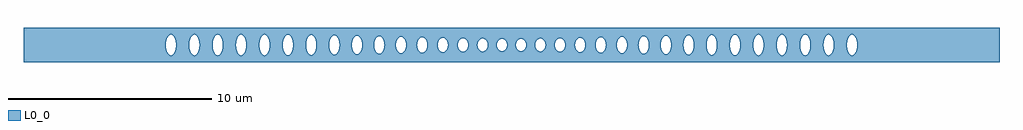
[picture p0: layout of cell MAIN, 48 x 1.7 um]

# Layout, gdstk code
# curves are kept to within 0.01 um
import gdstk
lib = gdstk.Library(unit=1e-6, precision=1e-09)
def P(c, l, *ps):  # polygons
    for p in ps: c.add(gdstk.Polygon(p, *l))
L0_0 = (0, 0)

main = lib.new_cell('MAIN')
P(main, L0_0, [(-16.836,-0.49),(-16.906,-0.413),(-16.96,-0.296),(-16.96,-0.85),(-16.836,-0.85)],
  [(-16.83,0.494),(-16.749,0.521),(-16.67,0.496),(-16.607,0.435),(-16.551,0.332),(-16.551,0.85),(-16.836,0.85)],
  [(-16.551,-0.332),(-16.607,-0.435),(-16.686,-0.505),(-16.765,-0.52),(-16.836,-0.49),(-16.836,-0.85),(-16.551,-0.85)],
  [(24,0.85),(16.96,0.85),(16.96,0.296),(16.988,0.195),(17.006,0.032),(16.998,-0.134),(16.96,-0.296),(16.96,-0.85),(24,-0.85)],
  [(-15.818,0.269),(-15.77,0.388),(-15.709,0.47),(-15.63,0.517),(-15.551,0.512),(-15.551,0.85),(-15.82,0.85)],
  [(-15.551,-0.512),(-15.63,-0.517),(-15.709,-0.47),(-15.77,-0.388),(-15.82,-0.264),(-15.82,-0.85),(-15.551,-0.85)],
  [(-15.344,0.85),(-15.551,0.85),(-15.551,0.512),(-15.481,0.464),(-15.419,0.375),(-15.371,0.247),(-15.344,0.083)],
  [(-15.344,-0.083),(-15.371,-0.247),(-15.419,-0.375),(-15.481,-0.464),(-15.551,-0.512),(-15.551,-0.85),(-15.344,-0.85)],
  [(-15.855,0.006),(-15.82,0.264),(-15.82,0.85),(-16.551,0.85),(-16.551,0.332),(-16.511,0.201),(-16.491,0)],
  [(-14.567,0.461),(-14.495,0.512),(-14.415,0.517),(-14.336,0.47),(-14.278,0.392),(-14.278,0.85),(-14.572,0.85)],
  [(-14.278,-0.392),(-14.336,-0.47),(-14.415,-0.517),(-14.495,-0.512),(-14.572,-0.455),(-14.572,-0.85),(-14.278,-0.85)],
  [(-14.705,0.006),(-14.666,0.275),(-14.624,0.379),(-14.572,0.455),(-14.572,0.85),(-15.344,0.85),(-15.341,0)],
  [(-13.535,0.195),(-13.497,0.327),(-13.438,0.435),(-13.369,0.5),(-13.29,0.52),(-13.29,0.85),(-13.536,0.85)],
  [(-13.29,-0.52),(-13.369,-0.5),(-13.438,-0.435),(-13.499,-0.322),(-13.536,-0.189),(-13.536,-0.85),(-13.29,-0.85)],
  [(-13.052,0.85),(-13.29,0.85),(-13.29,0.52),(-13.209,0.49),(-13.142,0.417),(-13.09,0.312),(-13.052,0.165)],
  [(-13.052,-0.165),(-13.09,-0.312),(-13.142,-0.417),(-13.209,-0.49),(-13.29,-0.52),(-13.29,-0.85),(-13.052,-0.85)],
  [(-13.554,0.006),(-13.536,0.189),(-13.536,0.85),(-14.278,0.85),(-14.278,0.392),(-14.216,0.23),(-14.19,0)],
  [(-12.303,0.413),(-12.233,0.49),(-12.162,0.52),(-12.073,0.5),(-12.01,0.442),(-12.01,0.85),(-12.305,0.85)],
  [(-12.01,-0.442),(-12.073,-0.5),(-12.162,-0.52),(-12.233,-0.49),(-12.305,-0.409),(-12.305,-0.85),(-12.01,-0.85)],
  [(-12.403,0.006),(-12.377,0.23),(-12.305,0.409),(-12.305,0.85),(-13.052,0.85),(-13.052,0.165),(-13.039,0)],
  [(-11.246,0.114),(-11.21,0.285),(-11.159,0.399),(-11.102,0.47),(-11.028,0.512),(-11.028,0.85),(-11.247,0.85)],
  [(-11.028,-0.512),(-11.102,-0.47),(-11.171,-0.377),(-11.22,-0.252),(-11.247,-0.108),(-11.247,-0.85),(-11.028,-0.85)],
  [(-11.022,0.514),(-10.942,0.506),(-10.876,0.459),(-10.812,0.364),(-10.766,0.235),(-10.766,0.85),(-11.028,0.85)],
  [(-10.766,-0.235),(-10.812,-0.364),(-10.876,-0.459),(-10.942,-0.506),(-11.028,-0.512),(-11.028,-0.85),(-10.766,-0.85)],
  [(-11.252,0.006),(-11.247,0.85),(-12.01,0.85),(-12.01,0.442),(-11.925,0.269),(-11.888,0)],
  [(-10.031,0.355),(-9.967,0.449),(-9.903,0.494),(-9.822,0.503),(-9.739,0.457),(-9.739,0.85),(-10.034,0.85)],
  [(-9.739,-0.457),(-9.822,-0.503),(-9.903,-0.494),(-9.967,-0.449),(-10.034,-0.35),(-10.034,-0.85),(-9.739,-0.85)],
  [(-10.106,0.006),(-10.088,0.186),(-10.034,0.35),(-10.034,0.85),(-10.766,0.85),(-10.766,0.235),(-10.737,0)],
  [(-8.969,0.056),(-8.954,0.177),(-8.906,0.325),(-8.837,0.429),(-8.763,0.479),(-8.763,0.85),(-8.97,0.85)],
  [(-8.763,-0.479),(-8.837,-0.429),(-8.906,-0.325),(-8.954,-0.177),(-8.97,-0.05),(-8.97,-0.85),(-8.763,-0.85)],
  [(-8.756,0.481),(-8.684,0.485),(-8.596,0.435),(-8.53,0.343),(-8.487,0.233),(-8.487,0.85),(-8.763,0.85)],
  [(-8.487,-0.233),(-8.53,-0.343),(-8.596,-0.435),(-8.684,-0.485),(-8.763,-0.479),(-8.763,-0.85),(-8.487,-0.85)],
  [(-8.971,0.006),(-8.97,0.85),(-9.739,0.85),(-9.739,0.457),(-9.679,0.381),(-9.636,0.287),(-9.599,0.126),(-9.591,0)],
  [(-7.778,0.331),(-7.713,0.417),(-7.633,0.462),(-7.552,0.46),(-7.473,0.409),(-7.473,0.85),(-7.78,0.85)],
  [(-7.473,-0.409),(-7.552,-0.46),(-7.633,-0.462),(-7.713,-0.417),(-7.78,-0.327),(-7.78,-0.85),(-7.473,-0.85)],
  [(-7.854,0.003),(-7.837,0.17),(-7.78,0.327),(-7.78,0.85),(-8.487,0.85),(-8.487,0.233),(-8.456,0)],
  [(-6.753,0.1),(-6.722,0.231),(-6.668,0.339),(-6.587,0.418),(-6.506,0.442),(-6.506,0.85),(-6.754,0.85)],
  [(-6.506,-0.442),(-6.587,-0.418),(-6.668,-0.339),(-6.722,-0.231),(-6.754,-0.094),(-6.754,-0.85),(-6.506,-0.85)],
  [(-6.499,0.442),(-6.414,0.416),(-6.35,0.357),(-6.29,0.251),(-6.253,0.112),(-6.253,0.85),(-6.506,0.85)],
  [(-6.253,-0.112),(-6.294,-0.261),(-6.353,-0.361),(-6.427,-0.423),(-6.506,-0.442),(-6.506,-0.85),(-6.253,-0.85)],
  [(-6.76,0.006),(-6.754,0.85),(-7.473,0.85),(-7.473,0.409),(-7.419,0.338),(-7.375,0.238),(-7.339,0)],
  [(-5.542,0.377),(-5.463,0.414),(-5.375,0.406),(-5.293,0.35),(-5.231,0.257),(-5.231,0.85),(-5.548,0.85)],
  [(-5.231,-0.257),(-5.293,-0.35),(-5.375,-0.406),(-5.463,-0.414),(-5.548,-0.372),(-5.548,-0.85),(-5.231,-0.85)],
  [(-5.691,0.006),(-5.658,0.204),(-5.61,0.303),(-5.548,0.372),(-5.548,0.85),(-6.253,0.85),(-6.245,0)],
  [(-4.583,0.26),(-4.505,0.351),(-4.428,0.387),(-4.336,0.382),(-4.252,0.329),(-4.252,0.85),(-4.586,0.85)],
  [(-4.252,-0.329),(-4.336,-0.382),(-4.428,-0.387),(-4.505,-0.351),(-4.586,-0.256),(-4.586,-0.85),(-4.252,-0.85)],
  [(-4.648,0.006),(-4.634,0.131),(-4.586,0.256),(-4.586,0.85),(-5.231,0.85),(-5.231,0.257),(-5.192,0.147),(-5.176,0)],
  [(-3.61,0.152),(-3.559,0.258),(-3.474,0.339),(-3.389,0.366),(-3.296,0.348),(-3.296,0.85),(-3.612,0.85)],
  [(-3.296,-0.348),(-3.389,-0.366),(-3.474,-0.339),(-3.559,-0.258),(-3.612,-0.147),(-3.612,-0.85),(-3.296,-0.85)],
  [(-3.633,0.005),(-3.612,0.147),(-3.612,0.85),(-4.252,0.85),(-4.252,0.329),(-4.163,0.182),(-4.134,0)],
  [(-2.638,0.073),(-2.604,0.184),(-2.538,0.279),(-2.454,0.333),(-2.353,0.342),(-2.353,0.85),(-2.638,0.85)],
  [(-2.353,-0.342),(-2.454,-0.333),(-2.538,-0.279),(-2.604,-0.184),(-2.638,-0.068),(-2.638,-0.85),(-2.353,-0.85)],
  [(-2.643,0.005),(-2.638,0.85),(-3.296,0.85),(-3.296,0.348),(-3.225,0.297),(-3.168,0.217),(-3.128,0.101),(-3.118,0)],
  [(-1.675,0.023),(-1.653,0.136),(-1.591,0.243),(-1.514,0.305),(-1.411,0.328),(-1.411,0.85),(-1.676,0.85)],
  [(-1.411,-0.328),(-1.514,-0.305),(-1.603,-0.229),(-1.653,-0.136),(-1.676,-0.018),(-1.676,-0.85),(-1.411,-0.85)],
  [(-1.161,0.85),(-1.411,0.85),(-1.411,0.328),(-1.325,0.306),(-1.241,0.238),(-1.18,0.125),(-1.161,0)],
  [(-1.161,0),(-1.18,-0.125),(-1.241,-0.238),(-1.325,-0.306),(-1.411,-0.328),(-1.411,-0.85),(-1.161,-0.85)],
  [(-0.726,0.005),(-0.705,0.127),(-0.647,0.229),(-0.561,0.296),(-0.469,0.316),(-0.469,0.85),(-1.161,0.85),(-1.161,0)],
  [(-0.469,-0.316),(-0.561,-0.296),(-0.647,-0.229),(-0.705,-0.127),(-0.726,0),(-1.161,0),(-1.161,-0.85),(-0.469,-0.85)],
  [(-0.212,0.85),(-0.469,0.85),(-0.469,0.316),(-0.369,0.292),(-0.285,0.222),(-0.228,0.113),(-0.212,0)],
  [(-0.212,0),(-0.228,-0.113),(-0.285,-0.222),(-0.369,-0.292),(-0.469,-0.316),(-0.469,-0.85),(-0.212,-0.85)],
  [(0.212,0.005),(0.231,0.122),(0.285,0.222),(0.369,0.292),(0.469,0.316),(0.469,0.85),(-0.212,0.85),(-0.212,0)],
  [(0.469,-0.316),(0.369,-0.292),(0.285,-0.222),(0.228,-0.113),(0.212,0),(-0.212,0),(-0.212,-0.85),(0.469,-0.85)],
  [(0.726,0.85),(0.469,0.85),(0.469,0.316),(0.561,0.296),(0.647,0.229),(0.705,0.127),(0.726,0.003)],
  [(0.726,-0.003),(0.705,-0.127),(0.647,-0.229),(0.561,-0.296),(0.469,-0.316),(0.469,-0.85),(0.726,-0.85)],
  [(1.161,0.003),(1.181,0.127),(1.234,0.229),(1.312,0.299),(1.405,0.327),(1.405,0.85),(0.726,0.85),(0.726,-0.003)],
  [(1.405,-0.327),(1.312,-0.299),(1.234,-0.229),(1.181,-0.127),(1.161,-0.003),(0.726,-0.003),(0.726,-0.85),(1.405,-0.85)],
  [(1.413,0.328),(1.512,0.306),(1.596,0.238),(1.652,0.139),(1.675,0.02),(1.675,0.85),(1.405,0.85)],
  [(1.675,-0.02),(1.652,-0.139),(1.596,-0.238),(1.512,-0.306),(1.405,-0.327),(1.405,-0.85),(1.675,-0.85)],
  [(-1.676,0.003),(-1.676,0.85),(-2.353,0.85),(-2.353,0.342),(-2.257,0.299),(-2.191,0.226),(-2.145,0.123),(-2.129,0)],
  [(2.357,0.343),(2.454,0.333),(2.538,0.279),(2.604,0.184),(2.638,0.068),(2.638,0.85),(2.349,0.85)],
  [(2.638,-0.068),(2.604,-0.184),(2.538,-0.279),(2.442,-0.337),(2.349,-0.341),(2.349,-0.85),(2.638,-0.85)],
  [(2.129,0.005),(2.145,0.123),(2.191,0.226),(2.257,0.299),(2.349,0.341),(2.349,0.85),(1.675,0.85),(1.676,0)],
  [(3.303,0.351),(3.4,0.365),(3.488,0.33),(3.559,0.258),(3.61,0.152),(3.61,0.85),(3.296,0.85)],
  [(3.61,-0.152),(3.559,-0.258),(3.474,-0.339),(3.389,-0.366),(3.296,-0.348),(3.296,-0.85),(3.61,-0.85)],
  [(3.118,0.005),(3.134,0.127),(3.168,0.217),(3.225,0.297),(3.296,0.348),(3.296,0.85),(2.638,0.85),(2.643,0)],
  [(4.258,0.335),(4.336,0.382),(4.428,0.387),(4.505,0.351),(4.583,0.26),(4.583,0.85),(4.252,0.85)],
  [(4.583,-0.26),(4.505,-0.351),(4.428,-0.387),(4.336,-0.382),(4.252,-0.329),(4.252,-0.85),(4.583,-0.85)],
  [(4.134,0.006),(4.163,0.182),(4.252,0.329),(4.252,0.85),(3.61,0.85),(3.61,0.152),(3.633,0)],
  [(5.233,0.261),(5.293,0.35),(5.375,0.406),(5.463,0.414),(5.548,0.372),(5.548,0.85),(5.231,0.85)],
  [(5.548,-0.372),(5.463,-0.414),(5.375,-0.406),(5.293,-0.35),(5.231,-0.257),(5.231,-0.85),(5.548,-0.85)],
  [(5.176,0.006),(5.192,0.147),(5.231,0.257),(5.231,0.85),(4.583,0.85),(4.583,0.26),(4.63,0.147),(4.648,0)],
  [(6.253,0.112),(6.294,0.261),(6.353,0.361),(6.427,0.423),(6.506,0.442),(6.506,0.85),(6.252,0.85)],
  [(6.506,-0.442),(6.427,-0.423),(6.353,-0.361),(6.29,-0.251),(6.252,-0.106),(6.252,-0.85),(6.506,-0.85)],
  [(6.753,0.85),(6.506,0.85),(6.506,0.442),(6.587,0.418),(6.668,0.339),(6.722,0.231),(6.753,0.1)],
  [(6.753,-0.1),(6.722,-0.231),(6.668,-0.339),(6.587,-0.418),(6.506,-0.442),(6.506,-0.85),(6.753,-0.85)],
  [(6.245,0.006),(6.252,0.85),(5.548,0.85),(5.548,0.372),(5.61,0.303),(5.658,0.204),(5.691,0)],
  [(7.475,0.411),(7.547,0.458),(7.638,0.461),(7.723,0.407),(7.779,0.329),(7.779,0.85),(7.469,0.85)],
  [(7.779,-0.329),(7.723,-0.407),(7.638,-0.461),(7.547,-0.458),(7.469,-0.405),(7.469,-0.85),(7.779,-0.85)],
  [(7.339,0.003),(7.376,0.241),(7.418,0.336),(7.469,0.405),(7.469,0.85),(6.753,0.85),(6.76,0)],
  [(8.487,0.233),(8.53,0.343),(8.596,0.435),(8.684,0.485),(8.763,0.479),(8.763,0.85),(8.486,0.85)],
  [(8.763,-0.479),(8.684,-0.485),(8.596,-0.435),(8.53,-0.343),(8.486,-0.228),(8.486,-0.85),(8.763,-0.85)],
  [(8.969,0.85),(8.763,0.85),(8.763,0.479),(8.837,0.429),(8.906,0.325),(8.954,0.177),(8.969,0.056)],
  [(8.969,-0.056),(8.954,-0.177),(8.906,-0.325),(8.837,-0.429),(8.763,-0.479),(8.763,-0.85),(8.969,-0.85)],
  [(8.456,0.006),(8.486,0.228),(8.486,0.85),(7.779,0.85),(7.779,0.329),(7.835,0.178),(7.854,0)],
  [(9.742,0.46),(9.822,0.503),(9.903,0.494),(9.967,0.449),(10.034,0.35),(10.034,0.85),(9.736,0.85)],
  [(10.034,-0.35),(9.967,-0.449),(9.903,-0.494),(9.822,-0.503),(9.736,-0.454),(9.736,-0.85),(10.034,-0.85)],
  [(9.591,0.006),(9.599,0.126),(9.636,0.287),(9.679,0.381),(9.736,0.454),(9.736,0.85),(8.969,0.85),(8.971,0)],
  [(10.766,0.235),(10.812,0.364),(10.876,0.459),(10.942,0.506),(11.028,0.512),(11.028,0.85),(10.764,0.85)],
  [(11.028,-0.512),(10.942,-0.506),(10.876,-0.459),(10.812,-0.364),(10.764,-0.229),(10.764,-0.85),(11.028,-0.85)],
  [(11.247,0.85),(11.028,0.85),(11.028,0.512),(11.102,0.47),(11.171,0.377),(11.22,0.252),(11.247,0.108)],
  [(11.247,-0.108),(11.22,-0.252),(11.171,-0.377),(11.102,-0.47),(11.028,-0.512),(11.028,-0.85),(11.247,-0.85)],
  [(10.737,0.006),(10.764,0.229),(10.764,0.85),(10.034,0.85),(10.034,0.35),(10.088,0.186),(10.106,0)],
  [(12.012,0.445),(12.073,0.5),(12.162,0.52),(12.233,0.49),(12.305,0.409),(12.305,0.85),(12.007,0.85)],
  [(12.305,-0.409),(12.233,-0.49),(12.162,-0.52),(12.073,-0.5),(12.007,-0.438),(12.007,-0.85),(12.305,-0.85)],
  [(11.888,0.006),(11.925,0.269),(12.007,0.438),(12.007,0.85),(11.247,0.85),(11.252,0)],
  [(13.052,0.165),(13.09,0.312),(13.142,0.417),(13.209,0.49),(13.29,0.52),(13.29,0.85),(13.051,0.85)],
  [(13.29,-0.52),(13.209,-0.49),(13.142,-0.417),(13.09,-0.312),(13.051,-0.158),(13.051,-0.85),(13.29,-0.85)],
  [(13.296,0.521),(13.369,0.5),(13.446,0.424),(13.499,0.322),(13.536,0.189),(13.536,0.85),(13.29,0.85)],
  [(13.536,-0.189),(13.499,-0.322),(13.438,-0.435),(13.369,-0.5),(13.29,-0.52),(13.29,-0.85),(13.536,-0.85)],
  [(13.039,0.006),(13.051,0.85),(12.305,0.85),(12.305,0.409),(12.377,0.23),(12.403,0)],
  [(14.278,0.392),(14.336,0.47),(14.415,0.517),(14.495,0.512),(14.572,0.455),(14.572,0.85),(14.276,0.85)],
  [(14.572,-0.455),(14.495,-0.512),(14.415,-0.517),(14.336,-0.47),(14.276,-0.388),(14.276,-0.85),(14.572,-0.85)],
  [(14.19,0.006),(14.216,0.23),(14.276,0.388),(14.276,0.85),(13.536,0.85),(13.536,0.189),(13.554,0)],
  [(15.344,0.083),(15.364,0.218),(15.408,0.352),(15.467,0.449),(15.547,0.51),(15.547,0.85),(15.343,0.85)],
  [(15.547,-0.51),(15.467,-0.449),(15.408,-0.352),(15.364,-0.218),(15.343,-0.077),(15.343,-0.85),(15.547,-0.85)],
  [(15.554,0.513),(15.63,0.517),(15.709,0.47),(15.77,0.388),(15.82,0.264),(15.82,0.85),(15.547,0.85)],
  [(15.82,-0.264),(15.77,-0.388),(15.709,-0.47),(15.63,-0.517),(15.547,-0.51),(15.547,-0.85),(15.82,-0.85)],
  [(15.341,0.006),(15.343,0.85),(14.572,0.85),(14.572,0.455),(14.624,0.379),(14.671,0.258),(14.705,0)],
  [(16.551,0.332),(16.607,0.435),(16.686,0.505),(16.765,0.52),(16.836,0.49),(16.836,0.85),(16.549,0.85)],
  [(16.836,-0.49),(16.765,-0.52),(16.677,-0.5),(16.607,-0.435),(16.549,-0.327),(16.549,-0.85),(16.836,-0.85)],
  [(-16.96,-0.296),(-16.988,-0.195),(-17.006,-0.032),(-16.998,0.134),(-16.96,0.296),(-16.96,0.85),(-24,0.85),(-24,-0.85),(-16.96,-0.85)],
  [(-16.959,0.302),(-16.906,0.413),(-16.836,0.49),(-16.836,0.85),(-16.96,0.85)],
  [(16.96,0.85),(16.836,0.85),(16.836,0.49),(16.906,0.413),(16.96,0.296)],
  [(16.96,-0.296),(16.906,-0.413),(16.836,-0.49),(16.836,-0.85),(16.96,-0.85)],
  [(-15.82,-0.264),(-15.855,0),(-16.491,0),(-16.511,-0.201),(-16.551,-0.332),(-16.551,-0.85),(-15.82,-0.85)],
  [(-14.572,-0.455),(-14.624,-0.379),(-14.671,-0.258),(-14.705,0),(-15.341,0),(-15.344,-0.85),(-14.572,-0.85)],
  [(-13.536,-0.189),(-13.554,0),(-14.19,0),(-14.216,-0.23),(-14.278,-0.392),(-14.278,-0.85),(-13.536,-0.85)],
  [(-12.305,-0.409),(-12.377,-0.23),(-12.403,0),(-13.039,0),(-13.052,-0.165),(-13.052,-0.85),(-12.305,-0.85)],
  [(-11.247,-0.108),(-11.252,0),(-11.888,0),(-11.925,-0.269),(-12.01,-0.442),(-12.01,-0.85),(-11.247,-0.85)],
  [(-10.034,-0.35),(-10.088,-0.186),(-10.106,0),(-10.737,0),(-10.766,-0.235),(-10.766,-0.85),(-10.034,-0.85)],
  [(-8.97,-0.05),(-8.971,0),(-9.591,0),(-9.599,-0.126),(-9.636,-0.287),(-9.679,-0.381),(-9.739,-0.457),(-9.739,-0.85),(-8.97,-0.85)],
  [(-7.78,-0.327),(-7.837,-0.17),(-7.854,0),(-8.456,0),(-8.487,-0.233),(-8.487,-0.85),(-7.78,-0.85)],
  [(-6.754,-0.094),(-6.76,0),(-7.339,0),(-7.375,-0.238),(-7.419,-0.338),(-7.473,-0.409),(-7.473,-0.85),(-6.754,-0.85)],
  [(-5.548,-0.372),(-5.61,-0.303),(-5.658,-0.204),(-5.691,0),(-6.245,0),(-6.253,-0.85),(-5.548,-0.85)],
  [(-4.586,-0.256),(-4.634,-0.131),(-4.648,0),(-5.176,0),(-5.192,-0.147),(-5.231,-0.257),(-5.231,-0.85),(-4.586,-0.85)],
  [(-3.612,-0.147),(-3.633,0),(-4.134,0),(-4.163,-0.182),(-4.252,-0.329),(-4.252,-0.85),(-3.612,-0.85)],
  [(-2.638,-0.068),(-2.643,0),(-3.118,0),(-3.128,-0.101),(-3.168,-0.217),(-3.225,-0.297),(-3.296,-0.348),(-3.296,-0.85),(-2.638,-0.85)],
  [(-1.676,-0.018),(-1.676,0),(-2.129,0),(-2.145,-0.123),(-2.191,-0.226),(-2.257,-0.299),(-2.353,-0.342),(-2.353,-0.85),(-1.676,-0.85)],
  [(2.349,-0.341),(2.257,-0.299),(2.191,-0.226),(2.145,-0.123),(2.129,0),(1.676,0),(1.675,-0.85),(2.349,-0.85)],
  [(3.296,-0.348),(3.225,-0.297),(3.168,-0.217),(3.128,-0.101),(3.118,0),(2.643,0),(2.638,-0.85),(3.296,-0.85)],
  [(4.252,-0.329),(4.163,-0.182),(4.134,0),(3.633,0),(3.61,-0.152),(3.61,-0.85),(4.252,-0.85)],
  [(5.231,-0.257),(5.192,-0.147),(5.176,0),(4.648,0),(4.634,-0.131),(4.583,-0.26),(4.583,-0.85),(5.231,-0.85)],
  [(6.252,-0.106),(6.245,0),(5.691,0),(5.658,-0.204),(5.61,-0.303),(5.548,-0.372),(5.548,-0.85),(6.252,-0.85)],
  [(7.469,-0.405),(7.418,-0.336),(7.376,-0.241),(7.339,0),(6.76,0),(6.753,-0.85),(7.469,-0.85)],
  [(8.486,-0.228),(8.456,0),(7.854,0),(7.835,-0.178),(7.779,-0.329),(7.779,-0.85),(8.486,-0.85)],
  [(9.736,-0.454),(9.679,-0.381),(9.636,-0.287),(9.599,-0.126),(9.591,0),(8.971,0),(8.969,-0.85),(9.736,-0.85)],
  [(10.764,-0.229),(10.737,0),(10.106,0),(10.088,-0.186),(10.034,-0.35),(10.034,-0.85),(10.764,-0.85)],
  [(12.007,-0.438),(11.962,-0.366),(11.916,-0.236),(11.888,0),(11.252,0),(11.247,-0.85),(12.007,-0.85)],
  [(13.051,-0.158),(13.039,0),(12.403,0),(12.377,-0.23),(12.305,-0.409),(12.305,-0.85),(13.051,-0.85)],
  [(14.276,-0.388),(14.212,-0.212),(14.19,0),(13.554,0),(13.536,-0.189),(13.536,-0.85),(14.276,-0.85)],
  [(15.343,-0.077),(15.341,0),(14.705,0),(14.671,-0.258),(14.624,-0.379),(14.572,-0.455),(14.572,-0.85),(15.343,-0.85)],
  [(16.549,-0.327),(16.511,-0.201),(16.491,0),(15.855,0),(15.82,-0.264),(15.82,-0.85),(16.549,-0.85)],
  [(16.491,0.006),(16.511,0.201),(16.549,0.327),(16.549,0.85),(15.82,0.85),(15.82,0.264),(15.855,0)])

lib.write_gds('MAIN.gds')
